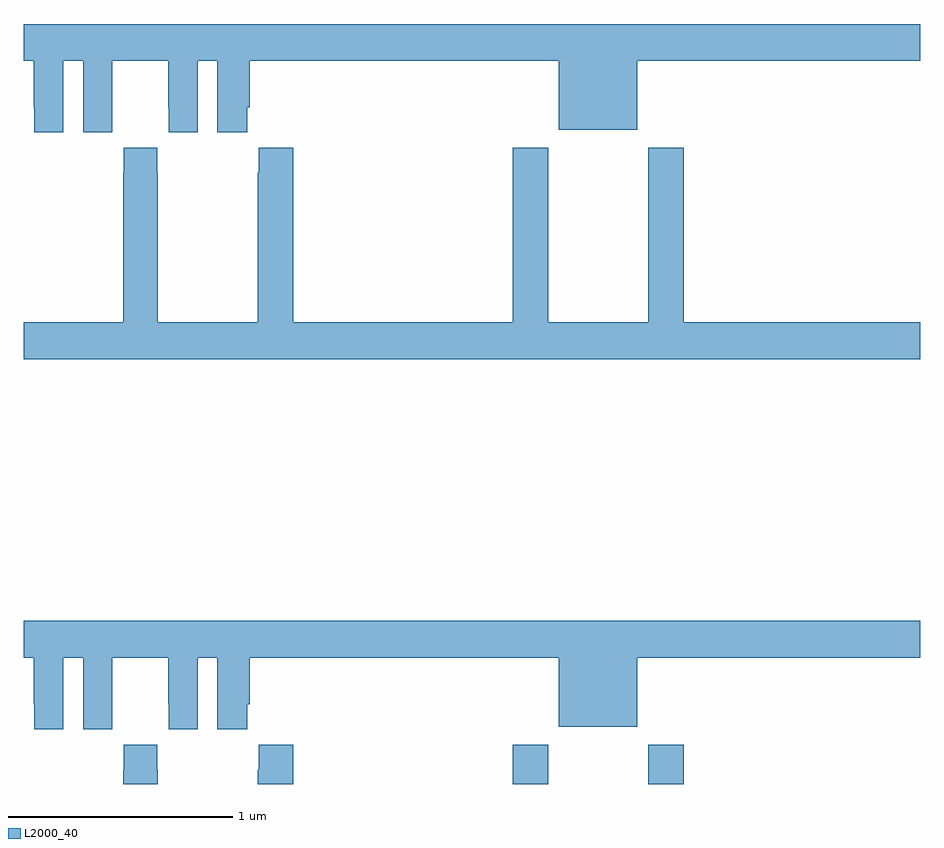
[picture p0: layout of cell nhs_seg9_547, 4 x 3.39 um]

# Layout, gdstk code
import gdstk
lib = gdstk.Library(unit=1e-6, precision=1e-09)
def R(c, l, rs):  # rectangles x0, y0, x1, y1
    for r in rs: c.add(gdstk.rectangle(r[:2], r[2:], *l))
def P(c, l, *ps):  # polygons
    for p in ps: c.add(gdstk.Polygon(p, *l))
L2000_40 = (2000, 40)

nhs_seg9_547 = lib.new_cell('nhs_seg9_547')
R(nhs_seg9_547, L2000_40, [(139.181,1218.5,139.341,1218.676), (139.786,1218.5,139.946,1218.676)])
P(nhs_seg9_547, L2000_40, [(137,1221.728),(137.045,1221.728),(137.045,1221.52),(137.046,1221.52),(137.046,1221.408),(137.176,1221.408),(137.176,1221.728),(137.264,1221.728),(137.264,1221.408),(137.394,1221.408),(137.394,1221.52),(137.395,1221.52),(137.395,1221.728),(137.645,1221.728),(137.645,1221.52),(137.646,1221.52),(137.646,1221.408),(137.776,1221.408),(137.776,1221.728),(137.864,1221.728),(137.864,1221.408),(137.998,1221.408),(137.998,1221.52),(138.008,1221.52),(138.008,1221.728),(139.388,1221.728),(139.388,1221.419),(139.738,1221.419),(139.738,1221.728),(141,1221.728),(141,1221.892),(137,1221.892)],
  [(141,1220.56),(139.946,1220.56),(139.946,1221.34),(139.786,1221.34),(139.786,1220.56),(139.341,1220.56),(139.341,1221.34),(139.181,1221.34),(139.181,1220.56),(138.203,1220.56),(138.203,1221.34),(138.049,1221.34),(138.049,1221.227),(138.043,1221.227),(138.043,1220.56),(137.598,1220.56),(137.598,1221.227),(137.595,1221.227),(137.595,1221.34),(137.445,1221.34),(137.445,1221.227),(137.443,1221.227),(137.443,1220.56),(137,1220.56),(137,1220.396),(141,1220.396)],
  [(137,1219.064),(137.045,1219.064),(137.045,1218.856),(137.046,1218.856),(137.046,1218.744),(137.176,1218.744),(137.176,1219.064),(137.264,1219.064),(137.264,1218.744),(137.394,1218.744),(137.394,1218.856),(137.395,1218.856),(137.395,1219.064),(137.645,1219.064),(137.645,1218.856),(137.646,1218.856),(137.646,1218.744),(137.776,1218.744),(137.776,1219.064),(137.864,1219.064),(137.864,1218.744),(137.998,1218.744),(137.998,1218.856),(138.008,1218.856),(138.008,1219.064),(139.388,1219.064),(139.388,1218.755),(139.738,1218.755),(139.738,1219.064),(141,1219.064),(141,1219.228),(137,1219.228)],
  [(138.203,1218.676),(138.049,1218.676),(138.049,1218.563),(138.043,1218.563),(138.043,1218.5),(138.203,1218.5)],
  [(137.598,1218.563),(137.595,1218.563),(137.595,1218.676),(137.445,1218.676),(137.445,1218.563),(137.443,1218.563),(137.443,1218.5),(137.598,1218.5)])

lib.write_gds('nhs_seg9_547.gds')
